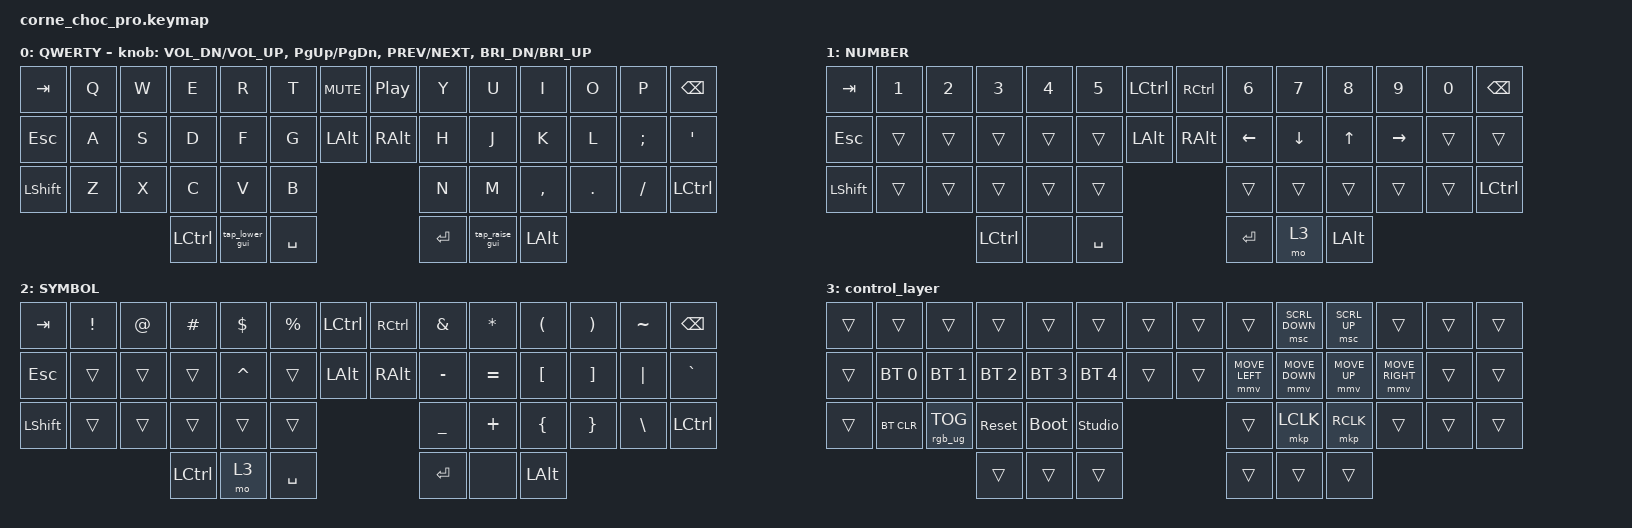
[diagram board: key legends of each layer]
/*
 * Copyright (c) 2020 The ZMK Contributors
 *
 * SPDX-License-Identifier: MIT
 */

#include <behaviors.dtsi>
#include <dt-bindings/zmk/bt.h>
#include <dt-bindings/zmk/keys.h>
#include <dt-bindings/zmk/pointing.h>
#include <dt-bindings/zmk/rgb.h>

/ {
    chosen { zmk,physical-layout = &default_layout; };
};

/ {
    combos { compatible = "zmk,combos"; };

    behaviors {
        tap_lower_gui: tap_lower_gui {
            compatible = "zmk,behavior-tap-dance";
            label = "TAP_LOWER_GUI";
            #binding-cells = <0>;
            bindings = <&mo 1>, <&kp LEFT_GUI>;
        };

        tap_raise_gui: tap_raise_gui {
            compatible = "zmk,behavior-tap-dance";
            label = "TAP_RAISE_GUI";
            #binding-cells = <0>;
            bindings = <&mo 2>, <&kp LEFT_GUI>;
        };
    };

    keymap {
        compatible = "zmk,keymap";

        default_layer {
            display-name = "QWERTY";

            // --------------------------------------------------------------------------------
            // |  TAB |  Q  |  W  |  E  |  R  |  T  |  MUTE |  PP   |  Y  |  U   |  I  |  O  |  P  | BSPC |
            // | CTRL |  A  |  S  |  D  |  F  |  G  |  LALT |  RALT |  H  |  J   |  K  |  L  |  ;  |  '   |
            // | SHFT |  Z  |  X  |  C  |  V  |  B  |               |  N  |  M   |  ,  |  .  |  /  | ESC  |
            //                    | GUI | LWR | SPC |               | ENT | RSE  | ALT |

            bindings = <
&kp TAB    &kp Q  &kp W  &kp E             &kp R           &kp T      &kp C_MUTE  &kp C_PP  &kp Y    &kp U           &kp I         &kp O    &kp P     &kp BSPC
&kp ESC    &kp A  &kp S  &kp D             &kp F           &kp G      &kp LALT    &kp RALT  &kp H    &kp J           &kp K         &kp L    &kp SEMI  &kp SQT
&kp LSHFT  &kp Z  &kp X  &kp C             &kp V           &kp B                            &kp N    &kp M           &kp COMMA     &kp DOT  &kp FSLH  &kp LEFT_CONTROL
                         &kp LEFT_CONTROL  &tap_lower_gui  &kp SPACE                        &kp RET  &tap_raise_gui  &kp LEFT_ALT
            >;

            sensor-bindings = <&inc_dec_kp C_VOL_DN C_VOL_UP &inc_dec_kp PG_UP PG_DN &inc_dec_kp C_PREV C_NEXT &inc_dec_kp C_BRI_DN C_BRI_UP>;
        };

        lower_layer {
            display-name = "NUMBER";

            // -----------------------------------------------------------------------------------------
            // |  TAB |  1  |  2  |  3  |  4  |  5    |  LCTRL | RCTRL |  6  |  7  |  8  |  9  |  0  | BSPC |
            // | CTRL | BT1 | BT2 | BT3 | BT4 | BT5   |  LALT  | RALT  | LFT | DWN |  UP | RGT |     |      |
            // | SHFT | BTCR| RGB | RST | BOOT| Unlock|        |       |     |     |     |     |     |      |
            //                    | GUI |     | SPC   |        | ENT   |     | ALT |

            bindings = <
&kp TAB    &kp N1  &kp N2  &kp N3            &kp N4  &kp N5     &kp LCTRL  &kp RCTRL  &kp N6    &kp N7    &kp N8        &kp N9     &kp N0  &kp BSPC
&kp ESC    &trans  &trans  &trans            &trans  &trans     &kp LALT   &kp RALT   &kp LEFT  &kp DOWN  &kp UP        &kp RIGHT  &trans  &trans
&kp LSHFT  &trans  &trans  &trans            &trans  &trans                           &trans    &trans    &trans        &trans     &trans  &kp LEFT_CONTROL
                           &kp LEFT_CONTROL  &none   &kp SPACE                        &kp RET   &mo 3     &kp LEFT_ALT
            >;
        };

        raise_layer {
            display-name = "SYMBOL";

            // -----------------------------------------------------------------------------------------
            // |  TAB |  !  |  @  |  #  |  $  |  %  | LCTRL | RCTRL |  ^  |  &  |  *  |  (  |  )  | BSPC |
            // | CTRL |     |     |     |     |     |  LALT | RALT  |  -  |  =  |  [  |  ]  |  \  |  `   |
            // | SHFT |     |     |     |     |     |               |  _  |  +  |  {  |  }  | "|" |  ~   |
            //                    | GUI |     | SPC |               | ENT |     | ALT |

            bindings = <
&kp TAB    &kp EXCL  &kp AT  &kp HASH          &kp DLLR   &kp PRCNT  &kp LCTRL  &kp RCTRL  &kp AMPS   &kp ASTRK  &kp LEFT_PARENTHESIS  &kp RIGHT_PARENTHESIS  &kp TILDE      &kp BSPC
&kp ESC    &trans    &trans  &trans            &kp CARET  &trans     &kp LALT   &kp RALT   &kp MINUS  &kp EQUAL  &kp LBKT              &kp RBKT               &kp PIPE       &kp GRAVE
&kp LSHFT  &trans    &trans  &trans            &trans     &trans                           &kp UNDER  &kp PLUS   &kp LBRC              &kp RBRC               &kp BACKSLASH  &kp LEFT_CONTROL
                             &kp LEFT_CONTROL  &mo 3      &kp SPACE                        &kp RET    &none      &kp LEFT_ALT
            >;
        };

        control_layer {
            bindings = <
&trans  &trans        &trans           &trans        &trans        &trans          &trans  &trans  &trans          &msc SCRL_DOWN  &msc SCRL_UP  &trans           &trans  &trans
&trans  &bt BT_SEL 0  &bt BT_SEL 1     &bt BT_SEL 2  &bt BT_SEL 3  &bt BT_SEL 4    &trans  &trans  &mmv MOVE_LEFT  &mmv MOVE_DOWN  &mmv MOVE_UP  &mmv MOVE_RIGHT  &trans  &trans
&trans  &bt BT_CLR    &rgb_ug RGB_TOG  &sys_reset    &bootloader   &studio_unlock                  &trans          &mkp LCLK       &mkp RCLK     &trans           &trans  &trans
                                       &trans        &trans        &trans                          &trans          &trans          &trans
            >;
        };
    };
};
